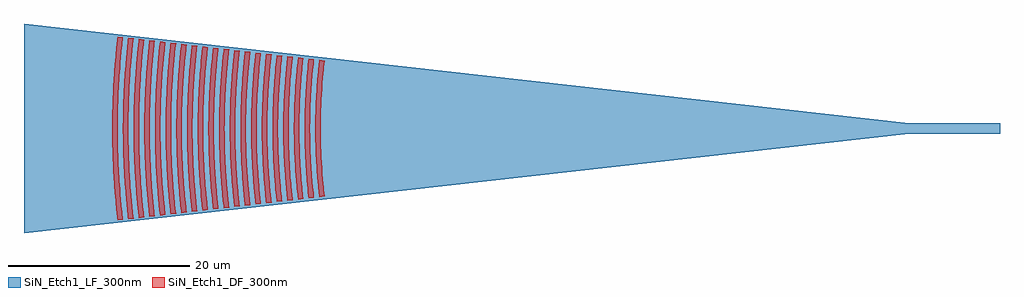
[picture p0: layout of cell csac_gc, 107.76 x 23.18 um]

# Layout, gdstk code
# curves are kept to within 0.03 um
import gdstk
lib = gdstk.Library(unit=1e-6, precision=1e-09)
def R(c, l, rs):  # rectangles x0, y0, x1, y1
    for r in rs: c.add(gdstk.rectangle(r[:2], r[2:], *l))
def P(c, l, *ps):  # polygons
    for p in ps: c.add(gdstk.Polygon(p, *l))
SiN_Etch1_LF_300nm = (203, 0)
SiN_Etch1_DF_300nm = (204, 0)

csac_gc = lib.new_cell('csac_gc')
R(csac_gc, SiN_Etch1_LF_300nm, [(-10.002,-0.6,0,0.6)])
P(csac_gc, SiN_Etch1_LF_300nm, [(-107.756,-11.59),(-107.756,11.59),(-10.001,0.6),(-10.001,-0.6)])
P(csac_gc, SiN_Etch1_DF_300nm, [(-75.153,-7.568),(-75.485,-3.734),(-75.591,-0.113),(-75.485,3.734),(-75.153,7.568),(-74.567,7.5),(-74.896,3.7),(-75.001,0.112),(-74.896,-3.7),(-74.567,-7.5)],
  [(-78.669,-7.976),(-78.99,-4.412),(-79.13,-0.358),(-79.032,3.697),(-78.863,6.077),(-78.669,7.976),(-78.083,7.908),(-78.416,4.138),(-78.54,0.355),(-78.518,-1.774),(-78.416,-4.138),(-78.083,-7.908)],
  [(-79.841,-8.113),(-80.182,-4.245),(-80.273,-2.305),(-80.31,-0.121),(-80.21,3.76),(-80.059,5.939),(-79.841,8.113),(-79.255,8.045),(-79.593,4.209),(-79.683,2.286),(-79.72,0.12),(-79.621,-3.729),(-79.471,-5.889),(-79.255,-8.045)],
  [(-81.013,-8.249),(-81.36,-4.316),(-81.452,-2.344),(-81.49,-0.123),(-81.452,2.344),(-81.36,4.316),(-81.013,8.249),(-80.427,8.181),(-80.771,4.28),(-80.87,2.08),(-80.9,0.122),(-80.799,-3.792),(-80.647,-5.989),(-80.427,-8.181)],
  [(-84.529,-8.657),(-84.893,-4.53),(-84.989,-2.46),(-85.03,-0.129),(-85.005,1.942),(-84.908,4.271),(-84.762,6.338),(-84.529,8.657),(-83.943,8.589),(-84.304,4.494),(-84.4,2.441),(-84.44,0.128),(-84.408,-2.184),(-84.319,-4.238),(-84.152,-6.544),(-83.943,-8.589)],
  [(-86.873,-8.929),(-87.113,-6.537),(-87.264,-4.406),(-87.389,-0.134),(-87.356,2.27),(-87.264,4.406),(-87.113,6.537),(-86.873,8.929),(-86.287,8.861),(-86.525,6.487),(-86.675,4.372),(-86.799,0.133),(-86.774,-1.988),(-86.675,-4.372),(-86.525,-6.487),(-86.287,-8.861)],
  [(-88.045,-9.066),(-88.265,-6.907),(-88.442,-4.473),(-88.569,-0.136),(-88.543,2.034),(-88.442,4.473),(-88.265,6.907),(-88.045,9.066),(-87.459,8.998),(-87.701,6.587),(-87.853,4.439),(-87.946,2.288),(-87.979,0.135),(-87.946,-2.288),(-87.853,-4.439),(-87.701,-6.587),(-87.459,-8.998)],
  [(-83.357,-8.521),(-83.586,-6.238),(-83.73,-4.204),(-83.85,-0.127),(-83.818,2.167),(-83.73,4.204),(-83.586,6.238),(-83.357,8.521),(-82.771,8.453),(-82.998,6.188),(-83.141,4.17),(-83.26,0.126),(-83.242,-1.644),(-83.141,-4.17),(-82.998,-6.188),(-82.771,-8.453)],
  [(-85.701,-8.793),(-86.071,-4.601),(-86.209,-0.395),(-86.184,1.973),(-86.101,4.076),(-85.915,6.7),(-85.701,8.793),(-85.115,8.725),(-85.482,4.565),(-85.579,2.479),(-85.62,0.131),(-85.587,-2.218),(-85.497,-4.305),(-85.327,-6.648),(-85.115,-8.725)],
  [(-77.497,-7.84),(-77.827,-4.102),(-77.951,-0.117),(-77.928,1.759),(-77.827,4.102),(-77.497,7.84),(-76.911,7.772),(-77.238,4.067),(-77.361,0.116),(-77.332,-1.976),(-77.238,-4.067),(-76.911,-7.772)],
  [(-90.388,-9.338),(-90.616,-7.115),(-90.798,-4.607),(-90.894,-2.374),(-90.929,-0.14),(-90.902,2.095),(-90.798,4.607),(-90.616,7.115),(-90.388,9.338),(-89.802,9.27),(-90.028,7.063),(-90.193,4.85),(-90.296,2.634),(-90.339,0.139),(-90.312,-2.08),(-90.209,-4.573),(-90.028,-7.063),(-89.802,-9.27)],
  [(-76.325,-7.704),(-76.649,-4.031),(-76.771,-0.115),(-76.742,1.959),(-76.649,4.031),(-76.325,7.704),(-75.739,7.636),(-76.074,3.767),(-76.181,0.114),(-76.074,-3.767),(-75.739,-7.636)],
  [(-89.216,-9.202),(-89.416,-7.285),(-89.604,-4.815),(-89.715,-2.34),(-89.749,-0.138),(-89.715,2.34),(-89.62,4.54),(-89.464,6.737),(-89.216,9.202),(-88.63,9.134),(-88.853,6.959),(-89.015,4.779),(-89.117,2.595),(-89.159,0.137),(-89.133,-2.049),(-89.031,-4.506),(-88.853,-6.959),(-88.63,-9.134)],
  [(-91.56,-9.474),(-91.791,-7.218),(-91.976,-4.674),(-92.065,-2.692),(-92.109,-0.142),(-92.081,2.126),(-91.976,4.674),(-91.791,7.218),(-91.56,9.474),(-90.974,9.406),(-91.228,6.886),(-91.387,4.641),(-91.484,2.392),(-91.519,0.141),(-91.492,-2.11),(-91.387,-4.641),(-91.228,-6.886),(-90.974,-9.406)],
  [(-92.732,-9.61),(-92.991,-7.036),(-93.154,-4.741),(-93.253,-2.443),(-93.289,-0.144),(-93.261,2.156),(-93.154,4.741),(-92.991,7.036),(-92.732,9.61),(-92.146,9.542),(-92.379,7.27),(-92.565,4.708),(-92.663,2.426),(-92.699,0.143),(-92.671,-2.141),(-92.565,-4.708),(-92.379,-7.27),(-92.146,-9.542)],
  [(-93.904,-9.746),(-94.167,-7.135),(-94.332,-4.809),(-94.432,-2.478),(-94.468,-0.146),(-94.44,2.187),(-94.332,4.809),(-94.167,7.135),(-93.904,9.746),(-93.318,9.678),(-93.554,7.374),(-93.743,4.775),(-93.834,2.75),(-93.878,0.145),(-93.85,-2.171),(-93.743,-4.775),(-93.554,-7.374),(-93.318,-9.678)],
  [(-95.076,-9.882),(-95.317,-7.529),(-95.492,-5.171),(-95.612,-2.513),(-95.648,-0.148),(-95.62,2.217),(-95.526,4.58),(-95.342,7.235),(-95.076,9.882),(-94.49,9.814),(-94.729,7.478),(-94.921,4.842),(-95.022,2.495),(-95.058,0.147),(-95.022,-2.495),(-94.921,-4.842),(-94.729,-7.478),(-94.49,-9.814)],
  [(-96.248,-10.019),(-96.492,-7.633),(-96.67,-5.242),(-96.782,-2.847),(-96.828,-0.15),(-96.791,2.547),(-96.67,5.242),(-96.492,7.633),(-96.248,10.019),(-95.662,9.95),(-95.878,7.878),(-96.081,5.206),(-96.192,2.828),(-96.238,0.149),(-96.217,-1.935),(-96.115,-4.612),(-95.93,-7.285),(-95.662,-9.95)],
  [(-82.185,-8.385),(-82.389,-6.389),(-82.552,-4.137),(-82.67,-0.125),(-82.646,1.881),(-82.552,4.137),(-82.389,6.389),(-82.185,8.385),(-81.599,8.317),(-81.949,4.352),(-82.049,2.115),(-82.08,0.124),(-82.049,-2.115),(-81.949,-4.352),(-81.599,-8.317)],
  [(-97.42,-10.155),(-97.694,-7.434),(-97.848,-5.313),(-97.961,-2.886),(-98.008,-0.152),(-97.979,2.278),(-97.848,5.313),(-97.694,7.434),(-97.42,10.155),(-96.834,10.087),(-97.08,7.685),(-97.259,5.278),(-97.381,2.565),(-97.418,0.151),(-97.381,-2.565),(-97.259,-5.278),(-97.08,-7.685),(-96.834,-10.087)])

lib.write_gds('csac_gc.gds')
